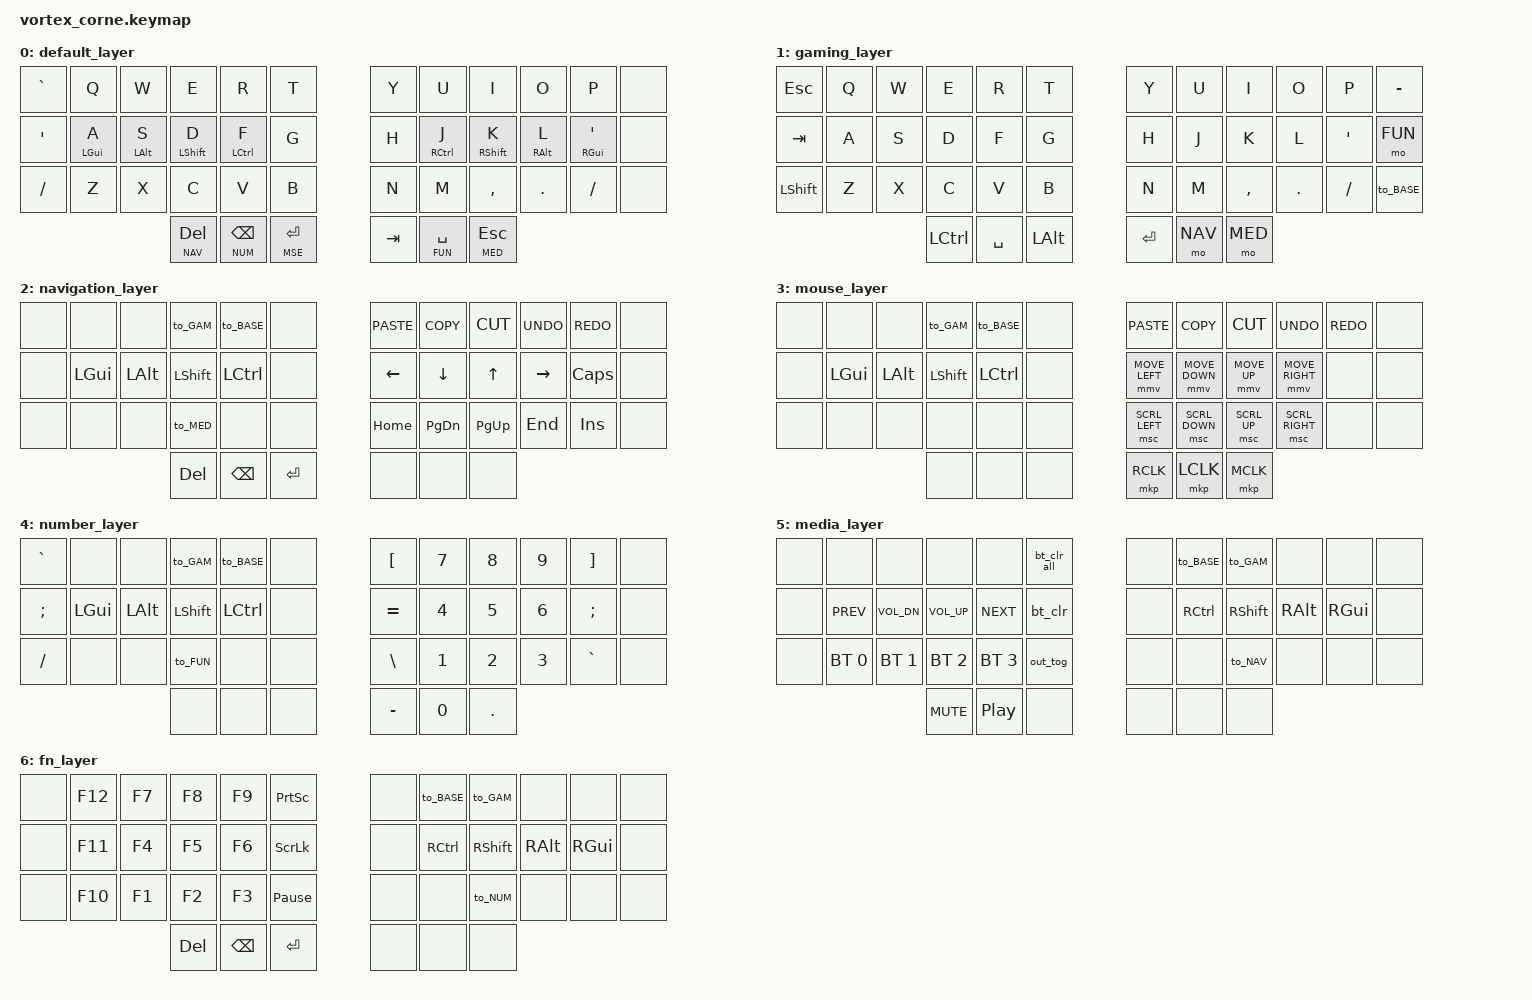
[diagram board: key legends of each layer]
/*
 * Copyright (c) 2020 The ZMK Contributors
 *
 * SPDX-License-Identifier: MIT
 */

#define ZMK_POINTING_DEFAULT_MOVE_VAL 1500
#define ZMK_POINTING_DEFAULT_SCRL_VAL 20

// Base Layers
#define BASE    0
#define GAM     1

// Upper Layers
#define NAV     2
#define MSE     3
#define NUM     4
#define MED     5
#define FUN     6

#include <behaviors.dtsi>
#include <dt-bindings/zmk/outputs.h>
#include <dt-bindings/zmk/keys.h>
#include <dt-bindings/zmk/bt.h>
#include <dt-bindings/zmk/pointing.h>

#include "./custom_behaviors.dtsi"

&mt {
  flavor = "tap-preferred";
};

&caps_word {
  continue-list = <UNDERSCORE MINUS BACKSPACE DELETE>;
};

/ {
  combos {
    compatible = "zmk,combos";
    combo_caps_word {
      timeout-ms = <50>;
      key-positions = <16 19>;
      bindings = <&caps_word>;
      layers = <BASE>;
    };

    combo_reset {
      timeout-ms = <50>;
      key-positions = <16 19 38 39>;
      bindings = <&sys_reset>;
    };

    combo_bootloader {
      timeout-ms = <50>;
      key-positions = <17 18 38 39>;
      bindings = <&bootloader>;
    };
  };
};

/ {
  keymap {
    compatible = "zmk,keymap";

    default_layer {
      bindings = <
        &kp GRAVE   &kp Q        &kp W        &kp E         &kp R           &kp T            &kp Y         &kp U           &kp I         &kp O        &kp P           &none
        &kp SQT     &mt LGUI A   &mt LALT S   &mt LSHFT D   &mt LCTRL F     &kp G            &kp H         &mt RCTRL J     &mt RSHFT K   &mt RALT L   &mt RGUI SQT    &none
        &kp FSLH    &kp Z        &kp X        &kp C         &kp V           &kp B            &kp N         &kp M           &kp COMMA     &kp DOT      &kp FSLH        &none
                                              &lt NAV DEL   &lt NUM BSPC    &lt MSE RET      &kp TAB       &lt FUN SPACE   &lt MED ESC
      >;
    };

    gaming_layer {
      bindings = <
        &kp ESC     &kp Q   &kp W   &kp E       &kp R      &kp T          &kp Y     &kp U     &kp I          &kp O     &kp P      &kp MINUS
        &kp TAB     &kp A   &kp S   &kp D       &kp F      &kp G          &kp H     &kp J     &kp K          &kp L     &kp SQT    &mo FUN
        &kp LSHFT   &kp Z   &kp X   &kp C       &kp V      &kp B          &kp N     &kp M     &kp COMMA      &kp DOT   &kp FSLH   &to_BASE
                                    &kp LCTRL   &kp SPACE  &kp LALT       &kp RET   &mo NAV   &mo MED
      >;
    };

    navigation_layer {
      bindings = <
        &none  &none      &none      &to_GAM     &to_BASE    &none        &kp K_PASTE  &kp K_COPY   &kp K_CUT   &kp K_UNDO  &kp K_REDO   &none
        &none  &kp LGUI   &kp LALT   &kp LSHFT   &kp LCTRL   &none        &kp LEFT     &kp DOWN     &kp UP      &kp RIGHT   &kp CLCK     &none
        &none  &none      &none      &to_MED     &none       &none        &kp HOME     &kp PG_DN    &kp PG_UP   &kp END     &kp INS      &none
                                     &kp DEL     &kp BSPC    &kp RET      &none        &none        &none
      >;
    };

    mouse_layer {
      bindings = <
        &none   &none      &none      &to_GAM     &to_BASE    &none          &kp K_PASTE      &kp K_COPY       &kp K_CUT      &kp K_UNDO        &kp K_REDO   &none
        &none   &kp LGUI   &kp LALT   &kp LSHFT   &kp LCTRL   &none          &mmv MOVE_LEFT   &mmv MOVE_DOWN   &mmv MOVE_UP   &mmv MOVE_RIGHT   &none        &none
        &none   &none      &none      &none       &none       &none          &msc SCRL_LEFT   &msc SCRL_DOWN   &msc SCRL_UP   &msc SCRL_RIGHT   &none        &none
                                      &none       &none       &none          &mkp RCLK        &mkp LCLK        &mkp MCLK
      >;
    };

    number_layer {
      bindings = <
         &kp GRAVE   &none      &none      &to_GAM     &to_BASE    &none      &kp LBKT    &kp N7   &kp N8   &kp N9   &kp RBKT    &none
         &kp SEMI    &kp LGUI   &kp LALT   &kp LSHFT   &kp LCTRL   &none      &kp EQUAL   &kp N4   &kp N5   &kp N6   &kp SEMI    &none
         &kp FSLH    &none      &none      &to_FUN     &none       &none      &kp BSLH    &kp N1   &kp N2   &kp N3   &kp GRAVE   &none
                                           &none       &none       &none      &kp MINUS   &kp N0   &kp DOT
      >;
    };

    media_layer {
      bindings = <
        &none   &none           &none           &none           &none           &bt_clr_all      &none   &to_BASE    &to_GAM     &none      &none   &none
        &none   &kp C_PREV      &kp C_VOL_DN    &kp C_VOL_UP    &kp C_NEXT      &bt_clr          &none   &kp RCTRL   &kp RSHFT   &kp RALT   &kp RGUI   &none
        &none   &bt BT_SEL 0    &bt BT_SEL 1    &bt BT_SEL 2    &bt BT_SEL 3    &out_tog         &none   &none       &to_NAV     &none      &none      &none
                                                &kp C_MUTE      &kp C_PP        &none            &none   &none       &none
      >;
    };

    fn_layer {
      bindings = <
        &none   &kp F12  &kp F7   &kp F8   &kp F9   &kp PSCRN            &none   &to_BASE    &to_GAM     &none      &none      &none
        &none   &kp F11  &kp F4   &kp F5   &kp F6   &kp SLCK             &none   &kp RCTRL   &kp RSHFT   &kp RALT   &kp RGUI   &none
        &none   &kp F10  &kp F1   &kp F2   &kp F3   &kp PAUSE_BREAK      &none   &none       &to_NUM     &none      &none      &none
                                  &kp DEL  &kp BSPC &kp RET              &none   &none       &none
      >;
    };
  };
};
